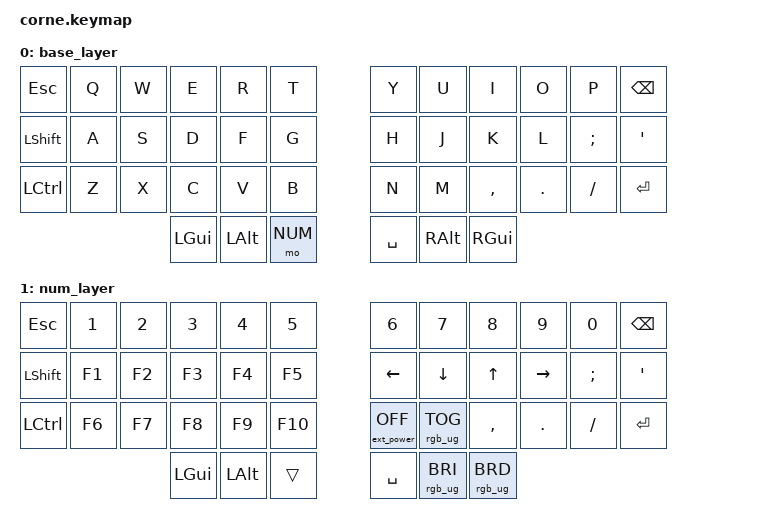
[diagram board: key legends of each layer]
/*
 * Corne Wireless — Seeed XIAO BLE
 * 42 keys | 2 layers | QWERTY base | RGB | Sleep/Wake
 *
 * Left outer column (top→bottom): ESC, LSHIFT, LCTRL
 * NUM layer: top row → 1-0, sleep key, RGB controls
 * Wake combo: W + E + D (held simultaneously)
 */

#include <behaviors.dtsi>
#include <dt-bindings/zmk/keys.h>
#include <dt-bindings/zmk/bt.h>
#include <dt-bindings/zmk/rgb.h>
#include <dt-bindings/zmk/ext_power.h>

/* Layer indices */
#define BASE 0
#define NUM  1

/ {

    /* ───────────────────────────────────────────────────────
     * KEY POSITIONS — 42-key Corne
     *
     *  Left half                    Right half
     *  0   1   2   3   4   5        6   7   8   9   10  11
     *  12  13  14  15  16  17       18  19  20  21  22  23
     *  24  25  26  27  28  29       30  31  32  33  34  35
     *              36  37  38       39  40  41
     *
     *  Left outer col: 0=ESC, 12=LSHIFT, 24=LCTRL
     *  W=2, E=3, D=15
     * ─────────────────────────────────────────────────────── */

    combos {
        compatible = "zmk,combos";

        /* W + E + D → wake the keyboard from deep sleep */
        combo_wake {
            timeout-ms = <60>;
            key-positions = <2 3 15>;
            bindings = <&ext_power EP_ON>;
            layers = <BASE>;
        };
    };

    keymap {
        compatible = "zmk,keymap";

        /* ════════════════════════════════════════
         * LAYER 0 — BASE (QWERTY)
         *
         *  ESC   Q  W  E  R  T      Y  U  I  O  P  BSPC
         *  LSHFT A  S  D  F  G      H  J  K  L  ;  '
         *  LCTRL Z  X  C  V  B      N  M  ,  .  /  RET
         *          GUI ALT [NUM]   SPC ALT RGUI
         * ════════════════════════════════════════ */
        base_layer {
            bindings = <
&kp ESC    &kp Q  &kp W  &kp E  &kp R  &kp T      &kp Y     &kp U     &kp I      &kp O    &kp P     &kp BSPC
&kp LSHFT  &kp A  &kp S  &kp D  &kp F  &kp G      &kp H     &kp J     &kp K      &kp L    &kp SEMI  &kp SQT
&kp LCTRL  &kp Z  &kp X  &kp C  &kp V  &kp B      &kp N     &kp M     &kp COMMA  &kp DOT  &kp FSLH  &kp RET
                  &kp LGUI  &kp LALT  &mo NUM      &kp SPACE  &kp RALT  &kp RGUI
            >;
        };

        /* ════════════════════════════════════════
         * LAYER 1 — NUM / FUNCTION
         * (hold right thumb key on base to activate)
         *
         *  ESC   1  2  3  4  5       6   7   8   9   0  BSPC
         *  LSHFT F1 F2 F3 F4 F5      ←   ↓   ↑   →   ;  '
         *  LCTRL F6 F7 F8 F9 F10  SLEEP  RTOG  ,   .   /  RET
         *              GUI ALT [held]   SPC  RGB+  RGB-
         *
         *  Notes:
         *  • Top row        → numbers 1–0 (gaming-friendly)
         *  • Left home row  → F1–F5
         *  • Right home row → arrow keys
         *  • Left bottom    → F6–F10
         *  • Right bottom 1 → Sleep (ext_power off)
         *  • Right bottom 2 → RGB toggle
         *  • Right thumbs   → RGB brightness up / down
         * ════════════════════════════════════════ */
        num_layer {
            bindings = <
&kp ESC    &kp N1  &kp N2  &kp N3  &kp N4  &kp N5       &kp N6             &kp N7          &kp N8     &kp N9   &kp N0    &kp BSPC
&kp LSHFT  &kp F1  &kp F2  &kp F3  &kp F4  &kp F5       &kp LEFT           &kp DOWN        &kp UP     &kp RIGHT &kp SEMI &kp SQT
&kp LCTRL  &kp F6  &kp F7  &kp F8  &kp F9  &kp F10      &ext_power EP_OFF  &rgb_ug RGB_TOG &kp COMMA  &kp DOT  &kp FSLH  &kp RET
                   &kp LGUI  &kp LALT  &trans             &kp SPACE  &rgb_ug RGB_BRI  &rgb_ug RGB_BRD
            >;
        };
    };
};
